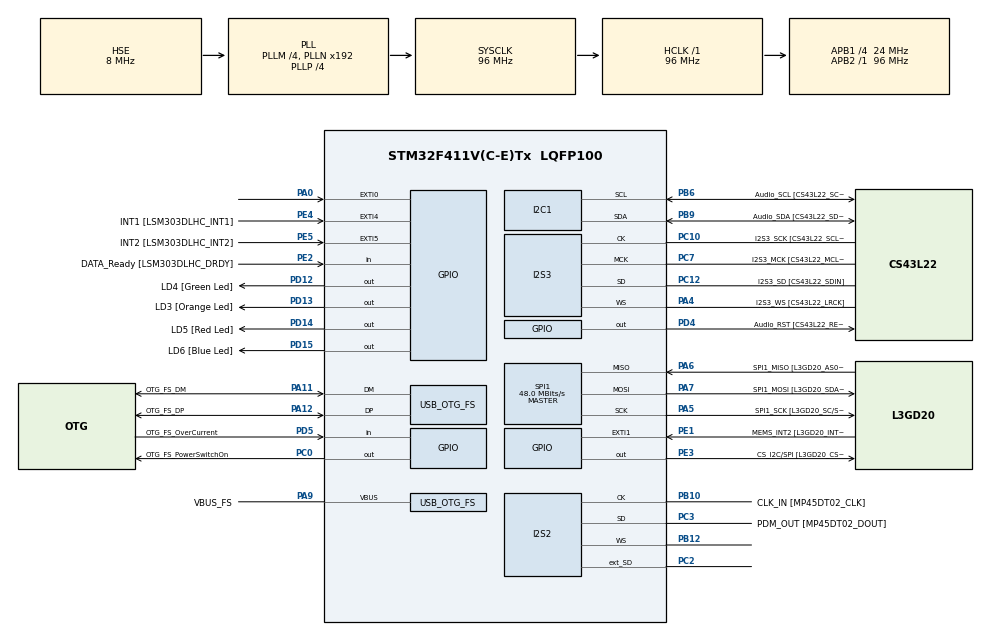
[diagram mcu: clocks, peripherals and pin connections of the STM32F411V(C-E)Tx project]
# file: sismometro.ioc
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I2C1.I2C_Mode=I2C_Standard
I2S2.AudioFreq=I2S_AUDIOFREQ_96K
I2S2.ErrorAudioFreq=0.15 %
I2S2.FullDuplexMode=I2S_FULLDUPLEXMODE_ENABLE
I2S2.Instance=SPI$Index
I2S2.RealAudioFreq=96.153 KHz
I2S2.VirtualMode=I2S_MODE_MASTER
I2S3.AudioFreq=I2S_AUDIOFREQ_96K
I2S3.ErrorAudioFreq=-6.99 %
I2S3.FullDuplexMode=I2S_FULLDUPLEXMODE_DISABLE
I2S3.Instance=SPI$Index
I2S3.RealAudioFreq=89.285 KHz
I2S3.VirtualMode=I2S_MODE_MASTER
Mcu.Family=STM32F4
Mcu.Name=STM32F411V(C-E)Tx
Mcu.Package=LQFP100
NVIC.OTG_FS_IRQn=true\:0\:0\:false\:false\:true\:true\:true\:true
NVIC.PriorityGroup=NVIC_PRIORITYGROUP_0
PA0-WKUP.GPIO_ModeDefaultEXTI=GPIO_MODE_EVT_RISING
PA0-WKUP.Signal=GPXTI0
PA10.GPIO_Label=OTG_FS_ID
PA10.Signal=USB_OTG_FS_ID
PA11.GPIO_Label=OTG_FS_DM
PA11.Mode=Host_Only
PA11.Signal=USB_OTG_FS_DM
PA12.GPIO_Label=OTG_FS_DP
PA12.Mode=Host_Only
PA12.Signal=USB_OTG_FS_DP
PA13.GPIO_Label=SWDIO
PA13.Mode=Serial_Wire
PA13.Signal=SYS_JTMS-SWDIO
PA14.GPIO_Label=SWCLK
PA14.Mode=Serial_Wire
PA14.Signal=SYS_JTCK-SWCLK
PA4.GPIO_Label=I2S3_WS [CS43L22_LRCK]
PA4.GPIO_Mode=GPIO_MODE_AF_PP
PA4.GPIO_PuPd=GPIO_NOPULL
PA4.GPIO_Speed=GPIO_SPEED_FREQ_LOW
PA4.Mode=Half_Duplex_Master
PA4.Signal=I2S3_WS
PA5.GPIO_Label=SPI1_SCK [L3GD20_SC/SPC]
PA5.Mode=Full_Duplex_Master
PA5.Signal=SPI1_SCK
PA6.GPIO_Label=SPI1_MISO [L3GD20_AS0/SDO]
PA6.Mode=Full_Duplex_Master
PA6.Signal=SPI1_MISO
PA7.GPIO_Label=SPI1_MOSI [L3GD20_SDA/SDI/SDO]
PA7.Mode=Full_Duplex_Master
PA7.Signal=SPI1_MOSI
PA9.GPIO_Label=VBUS_FS
PA9.Mode=Activate_VBUS
PA9.Signal=USB_OTG_FS_VBUS
PB10.GPIO_Label=CLK_IN [MP45DT02_CLK]
PB10.Mode=Full_Duplex_Master
PB10.Signal=I2S2_CK
PB12.Mode=Full_Duplex_Master
PB12.Signal=I2S2_WS
PB3.GPIO_Label=SWO
PB3.Signal=SYS_JTDO-SWO
PB6.GPIO_Label=Audio_SCL [CS43L22_SCL]
PB6.GPIO_Mode=GPIO_MODE_AF_OD
PB6.GPIO_Pu=GPIO_PULLUP
PB6.GPIO_PuPd=GPIO_NOPULL
PB6.GPIO_Speed=GPIO_SPEED_FREQ_LOW
PB6.Mode=I2C
PB6.Signal=I2C1_SCL
PB9.GPIO_Label=Audio_SDA [CS43L22_SDA]
PB9.GPIO_Mode=GPIO_MODE_AF_OD
PB9.GPIO_Pu=GPIO_PULLUP
PB9.GPIO_PuPd=GPIO_NOPULL
PB9.GPIO_Speed=GPIO_SPEED_FREQ_LOW
PB9.Mode=I2C
PB9.Signal=I2C1_SDA
PC0.GPIO_Label=OTG_FS_PowerSwitchOn
PC0.PinState=GPIO_PIN_SET
PC0.Signal=GPIO_Output
PC10.GPIO_Label=I2S3_SCK [CS43L22_SCLK]
PC10.GPIO_Mode=GPIO_MODE_AF_PP
PC10.GPIO_PuPd=GPIO_NOPULL
PC10.GPIO_Speed=GPIO_SPEED_FREQ_LOW
PC10.Mode=Half_Duplex_Master
PC10.Signal=I2S3_CK
PC12.GPIO_Label=I2S3_SD [CS43L22_SDIN]
PC12.GPIO_Mode=GPIO_MODE_AF_PP
PC12.GPIO_PuPd=GPIO_NOPULL
PC12.GPIO_Speed=GPIO_SPEED_FREQ_LOW
PC12.Mode=Half_Duplex_Master
PC12.Signal=I2S3_SD
PC14-OSC32_IN.GPIO_Label=PC14-OSC32_IN
PC14-OSC32_IN.Signal=RCC_OSC32_IN
PC15-OSC32_OUT.GPIO_Label=PC15-OSC32_OUT
PC15-OSC32_OUT.Signal=RCC_OSC32_OUT
PC2.Mode=Full_Duplex_Master
PC2.Signal=I2S2_ext_SD
PC3.GPIO_Label=PDM_OUT [MP45DT02_DOUT]
PC3.Mode=Full_Duplex_Master
PC3.Signal=I2S2_SD
PC7.GPIO_Label=I2S3_MCK [CS43L22_MCLK]
PC7.GPIO_Mode=GPIO_MODE_AF_PP
PC7.GPIO_PuPd=GPIO_NOPULL
PC7.GPIO_Speed=GPIO_SPEED_FREQ_LOW
PC7.Mode=Master_Clock_Activated
PC7.Signal=I2S3_MCK
PD12.GPIO_Label=LD4 [Green Led]
PD12.GPIO_PuPd=GPIO_NOPULL
PD12.GPIO_Speed=GPIO_SPEED_FREQ_LOW
PD12.Signal=GPIO_Output
PD13.GPIO_Label=LD3 [Orange Led]
PD13.GPIO_PuPd=GPIO_NOPULL
PD13.GPIO_Speed=GPIO_SPEED_FREQ_LOW
PD13.Signal=GPIO_Output
PD14.GPIO_Label=LD5 [Red Led]
PD14.GPIO_PuPd=GPIO_NOPULL
PD14.GPIO_Speed=GPIO_SPEED_FREQ_LOW
PD14.Signal=GPIO_Output
PD15.GPIO_Label=LD6 [Blue Led]
PD15.GPIO_PuPd=GPIO_NOPULL
PD15.GPIO_Speed=GPIO_SPEED_FREQ_LOW
PD15.Signal=GPIO_Output
PD4.GPIO_Label=Audio_RST [CS43L22_RESET]
PD4.Signal=GPIO_Output
PD5.GPIO_Label=OTG_FS_OverCurrent
PD5.Signal=GPIO_Input
PE1.GPIO_Label=MEMS_INT2 [L3GD20_INT2]
PE1.GPIO_ModeDefaultEXTI=GPIO_MODE_EVT_RISING
PE1.Signal=GPXTI1
PE2.GPIO_Label=DATA_Ready [LSM303DLHC_DRDY]
PE2.Signal=GPIO_Input
PE3.GPIO_Label=CS_I2C/SPI [L3GD20_CS_I2C/SPI]
PE3.Signal=GPIO_Output
PE4.GPIO_Label=INT1 [LSM303DLHC_INT1]
PE4.GPIO_ModeDefaultEXTI=GPIO_MODE_EVT_RISING
PE4.Signal=GPXTI4
PE5.GPIO_Label=INT2 [LSM303DLHC_INT2]
PE5.GPIO_ModeDefaultEXTI=GPIO_MODE_EVT_RISING
PE5.Signal=GPXTI5
PH0\ -\ OSC_IN.GPIO_Label=PH0-OSC_IN
PH0\ -\ OSC_IN.Mode=HSE-External-Oscillator
PH0\ -\ OSC_IN.Signal=RCC_OSC_IN
PH1\ -\ OSC_OUT.GPIO_Label=PH1-OSC_OUT
PH1\ -\ OSC_OUT.Mode=HSE-External-Oscillator
PH1\ -\ OSC_OUT.Signal=RCC_OSC_OUT
ProjectManager.HeapSize=0x200
ProjectManager.StackSize=0x400
ProjectManager.TargetToolchain=STM32CubeIDE
RCC.48MHZClocksFreq_Value=48000000
RCC.AHBFreq_Value=96000000
RCC.APB1CLKDivider=RCC_HCLK_DIV4
RCC.APB1Freq_Value=24000000
RCC.APB1TimFreq_Value=48000000
RCC.APB2Freq_Value=96000000
RCC.APB2TimFreq_Value=96000000
RCC.CortexFreq_Value=96000000
RCC.HCLKFreq_Value=96000000
RCC.HSE_VALUE=8000000
RCC.HSI_VALUE=16000000
RCC.LSE_VALUE=32768
RCC.PLLI2SM=5
RCC.PLLI2SN=200
RCC.PLLM=4
RCC.PLLP=RCC_PLLP_DIV4
RCC.PLLQ=8
RCC.SYSCLKFreq_VALUE=96000000
RCC.SYSCLKSource=RCC_SYSCLKSOURCE_PLLCLK
RCC.VCOOutputFreq_Value=384000000
SPI1.BaudRatePrescaler=SPI_BAUDRATEPRESCALER_2
SPI1.CalculateBaudRate=48.0 MBits/s
SPI1.Direction=SPI_DIRECTION_2LINES
SPI1.Mode=SPI_MODE_MASTER
SPI1.VirtualType=VM_MASTER
USB_HOST.BSP.number=1
USB_HOST.USBH_HandleTypeDef=hUsbHostFS
USB_HOST.VirtualModeFS=Msc
USB_HOST0.BSP.STBoard=false
USB_HOST0.BSP.api=Unknown
USB_HOST0.BSP.instance=PC0
USB_HOST0.BSP.ip=GPIO
USB_HOST0.BSP.mode=Output
USB_HOST0.BSP.name=Drive_VBUS_FS
USB_HOST0.BSP.solution=PC0
USB_OTG_FS.VirtualMode=Host_Only
USB_OTG_FS.phy_itface=HCD_PHY_EMBEDDED
VP_FATFS_VS_USB.Mode=USB
VP_USB_HOST_VS_USB_HOST_MSC_FS.Mode=MSC_FS
board=STM32F411E-DISCO

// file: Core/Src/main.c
/* USER CODE BEGIN Header */
/**
  ****
  * @file           : main.c
  * @brief          : Main program body
  ****
  * @attention
  *
  * Copyright (c) 2024 STMicroelectronics.
  * All rights reserved.
  *
  * This software is licensed under terms that can be found in the LICENSE file
  * in the root directory of this software component.
  * If no LICENSE file comes with this software, it is provided AS-IS.
  *
  ****
  */
/* USER CODE END Header */
#include "main.h"
#include "fatfs.h"
#include "usb_host.h"

/* USER CODE BEGIN Includes */
#include <lsm303dlhc.h>
#include "math.h"
/* USER CODE END Includes */

/* USER CODE BEGIN PD */

#define SEISMIC_THRESHOLD 2500 /*  umbral para la detección de eventos sísmicos 2500*/
#define SEISMIC_LED_PIN GPIO_PIN_15
#define SEISMIC_LED_PORT GPIOD
#define led_test GPIO_PIN_12
#define port_test GPIOD

/* USER CODE END PD */

I2C_HandleTypeDef hi2c1;

I2S_HandleTypeDef hi2s2;
I2S_HandleTypeDef hi2s3;

SPI_HandleTypeDef hspi1;

/* USER CODE BEGIN PV */
FATFS fs;

int seismicEventDetected = 0;
int16_t acc_data[3];
float accelerationgravedad = 16000;
float accelerationMagnitude;
float maxAccelerationMagnitude;
/* USER CODE END PV */

void SystemClock_Config(void);
void PeriphCommonClock_Config(void);
static void MX_GPIO_Init(void);
static void MX_I2C1_Init(void);
static void MX_I2S2_Init(void);
static void MX_I2S3_Init(void);
static void MX_SPI1_Init(void);
void MX_USB_HOST_Process(void);

/* USER CODE BEGIN PFP */
int funcionwhile(int);
/* USER CODE END PFP */

/* USER CODE BEGIN 0 */
int funcionwhile(int valormax)
{
    int duration = 10000;//tiempo a pasar para imprimir un valor en el usb

    while ((HAL_GetTick() - valormax) < duration)
    {
  	   LSM303DLHC_AccReadXYZ(acc_data);
    	//calculo el modulo de la aceleracion
       accelerationMagnitude = sqrt((float)(acc_data[0] * acc_data[0] + acc_data[1] * acc_data[1] + (acc_data[2] - accelerationgravedad) * (acc_data[2] - accelerationgravedad)));
  	   /* Actualizar la aceleración máxima si es mayor que la actual */
  	   if (accelerationMagnitude > valormax) {
  	         valormax = accelerationMagnitude;
  	   }
  	   /* Comprueba si la magnitud supera el umbral */
  	   if (accelerationMagnitude > SEISMIC_THRESHOLD) {
  	         HAL_GPIO_WritePin(SEISMIC_LED_PORT, SEISMIC_LED_PIN, GPIO_PIN_SET);
  	   } else {
  	         HAL_GPIO_WritePin(SEISMIC_LED_PORT, SEISMIC_LED_PIN, GPIO_PIN_RESET);
  	   }
     }
    return(valormax);
}
void COMPASSACCELERO_IO_Init(void)
{
}

void COMPASSACCELERO_IO_ITConfig(void)
{
}

void COMPASSACCELERO_IO_Write(uint16_t DeviceAddr, uint8_t RegisterAddr, uint8_t Value)
{
	uint8_t buffer[2] = {RegisterAddr, Value};
	HAL_StatusTypeDef res = HAL_I2C_Master_Transmit(&hi2c1, DeviceAddr, buffer, 2, 100);
}

uint8_t COMPASSACCELERO_IO_Read(uint16_t DeviceAddr, uint8_t RegisterAddr)
{
	HAL_StatusTypeDef res = HAL_I2C_Master_Transmit(&hi2c1, DeviceAddr, &RegisterAddr, 1, 100);
	uint8_t value;
	res = HAL_I2C_Master_Receive(&hi2c1, DeviceAddr | 0x01, &value, 1, 100);
	return value;
}

void onHostUserClassActiveCallback(void)
{
  f_mount(&fs, "", 0);
  HAL_GPIO_WritePin(port_test, led_test, GPIO_PIN_SET);
}
void onHostUserDisconnectionCallback(void)
{
  f_mount(NULL, "", 0);
  HAL_GPIO_WritePin(port_test, led_test, GPIO_PIN_RESET);
}

void saveSismicData()
{
    FIL archivo;
    FRESULT resultado;

    // Abre o crea un archivo en modo escritura y lo posiciona al final
    resultado = f_open(&archivo, "archivo.txt", FA_WRITE | FA_OPEN_ALWAYS);
    if (resultado != FR_OK) {
        printf("Error al abrir el archivo: %d\n", resultado);
        return;
    }

    // Posicionar al final del archivo
    resultado = f_lseek(&archivo, f_size(&archivo));
    if (resultado != FR_OK) {
        printf("Error al posicionar al final del archivo: %d\n", resultado);
        f_close(&archivo);
        return;
    }

    // Escribir texto inicial
    const char* texto = "\nSismo de valor: ";
    UINT bytesEscritos;
    resultado = f_write(&archivo, texto, strlen(texto), &bytesEscritos);
    if (resultado != FR_OK) {
        printf("Error al escribir texto: %d\n", resultado);
        f_close(&archivo);
        return;
    }

    // Convertir y escribir el valor
    char buffer[20];
    snprintf(buffer, sizeof(buffer), "%.1f", maxAccelerationMagnitude);
    resultado = f_write(&archivo, buffer, strlen(buffer), &bytesEscritos);
    if (resultado != FR_OK) {
        printf("Error al escribir valor: %d\n", resultado);
        f_close(&archivo);
        return;
    }

    // Cerrar el archivo
    if (f_close(&archivo) != FR_OK) {
        printf("Error al cerrar el archivo.\n");
    }
}
/* USER CODE END 0 */

int main(void)
{

  /* MCU Configuration--------------------------------------------------------*/

  /* Reset of all peripherals, Initializes the Flash interface and the Systick. */
  HAL_Init();

  /* Configure the system clock */
  SystemClock_Config();

/* Configure the peripherals common clocks */
  PeriphCommonClock_Config();

  /* Initialize all configured peripherals */
  MX_GPIO_Init();
  MX_I2C1_Init();
  MX_I2S2_Init();
  MX_I2S3_Init();
  MX_SPI1_Init();
  MX_USB_HOST_Init();
  MX_FATFS_Init();
  /* USER CODE BEGIN 2 */
  LSM303DLHC_AccInit(
    (LSM303DLHC_ODR_100_HZ | LSM303DLHC_AXES_ENABLE) +              // CTRL_REG1_A
    256 * (LSM303DLHC_FULLSCALE_2G | LSM303DLHC_BlockUpdate_Single) // CTRL_REG4_A
  );
  /* USER CODE END 2 */

  /* Infinite loop */
  /* USER CODE BEGIN WHILE */
  seismicEventDetected = 0;
  maxAccelerationMagnitude = 0;
  while (1)
  {
    /* USER CODE END WHILE */
    MX_USB_HOST_Process();

    /* USER CODE BEGIN 3 */
    LSM303DLHC_AccReadXYZ(acc_data);
    accelerationMagnitude = sqrt((float)(acc_data[0] * acc_data[0] + acc_data[1] * acc_data[1] + (acc_data[2] - accelerationgravedad) * (acc_data[2] - accelerationgravedad)));

    HAL_GPIO_WritePin(SEISMIC_LED_PORT, SEISMIC_LED_PIN, accelerationMagnitude > SEISMIC_THRESHOLD ? GPIO_PIN_SET : GPIO_PIN_RESET);

    int startTime;
    /* Comprueba si la magnitud supera el umbral */
    if (seismicEventDetected)
    {
    	//me quedo con el valor mas grande
    	if (maxAccelerationMagnitude < accelerationMagnitude)
        	maxAccelerationMagnitude = accelerationMagnitude;
    	if (HAL_GetTick() - startTime > 10000)
    	{
    		seismicEventDetected = 0;
    		//escribo en un fichero los valores de aceleracion maxima detectada
	        saveSismicData(maxAccelerationMagnitude);
    	}
    }
    else if (accelerationMagnitude > SEISMIC_THRESHOLD) {
	      startTime = HAL_GetTick();
	      seismicEventDetected = 1;
      	  maxAccelerationMagnitude = accelerationMagnitude;
       }
  }
  /* USER CODE END 3 */
}

void SystemClock_Config(void)
{
  RCC_OscInitTypeDef RCC_OscInitStruct = {0};
  RCC_ClkInitTypeDef RCC_ClkInitStruct = {0};

  /** Configure the main internal regulator output voltage
  */
  __HAL_RCC_PWR_CLK_ENABLE();
  __HAL_PWR_VOLTAGESCALING_CONFIG(PWR_REGULATOR_VOLTAGE_SCALE1);

  /** Initializes the RCC Oscillators according to the specified parameters
  * in the RCC_OscInitTypeDef structure.
  */
  RCC_OscInitStruct.OscillatorType = RCC_OSCILLATORTYPE_HSE;
  RCC_OscInitStruct.HSEState = RCC_HSE_ON;
  RCC_OscInitStruct.PLL.PLLState = RCC_PLL_ON;
  RCC_OscInitStruct.PLL.PLLSource = RCC_PLLSOURCE_HSE;
  RCC_OscInitStruct.PLL.PLLM = 4;
  RCC_OscInitStruct.PLL.PLLN = 192;
  RCC_OscInitStruct.PLL.PLLP = RCC_PLLP_DIV4;
  RCC_OscInitStruct.PLL.PLLQ = 8;
  if (HAL_RCC_OscConfig(&RCC_OscInitStruct) != HAL_OK)
  {
    Error_Handler();
  }

  /** Initializes the CPU, AHB and APB buses clocks
  */
  RCC_ClkInitStruct.ClockType = RCC_CLOCKTYPE_HCLK|RCC_CLOCKTYPE_SYSCLK
                              |RCC_CLOCKTYPE_PCLK1|RCC_CLOCKTYPE_PCLK2;
  RCC_ClkInitStruct.SYSCLKSource = RCC_SYSCLKSOURCE_PLLCLK;
  RCC_ClkInitStruct.AHBCLKDivider = RCC_SYSCLK_DIV1;
  RCC_ClkInitStruct.APB1CLKDivider = RCC_HCLK_DIV4;
  RCC_ClkInitStruct.APB2CLKDivider = RCC_HCLK_DIV1;

  if (HAL_RCC_ClockConfig(&RCC_ClkInitStruct, FLASH_LATENCY_3) != HAL_OK)
  {
    Error_Handler();
  }
}

void PeriphCommonClock_Config(void)
{
  RCC_PeriphCLKInitTypeDef PeriphClkInitStruct = {0};

  /** Initializes the peripherals clock
  */
  PeriphClkInitStruct.PeriphClockSelection = RCC_PERIPHCLK_I2S;
  PeriphClkInitStruct.PLLI2S.PLLI2SN = 200;
  PeriphClkInitStruct.PLLI2S.PLLI2SM = 5;
  PeriphClkInitStruct.PLLI2S.PLLI2SR = 2;
  if (HAL_RCCEx_PeriphCLKConfig(&PeriphClkInitStruct) != HAL_OK)
  {
    Error_Handler();
  }
}

static void MX_I2C1_Init(void)
{

  hi2c1.Instance = I2C1;
  hi2c1.Init.ClockSpeed = 100000;
  hi2c1.Init.DutyCycle = I2C_DUTYCYCLE_2;
  hi2c1.Init.OwnAddress1 = 0;
  hi2c1.Init.AddressingMode = I2C_ADDRESSINGMODE_7BIT;
  hi2c1.Init.DualAddressMode = I2C_DUALADDRESS_DISABLE;
  hi2c1.Init.OwnAddress2 = 0;
  hi2c1.Init.GeneralCallMode = I2C_GENERALCALL_DISABLE;
  hi2c1.Init.NoStretchMode = I2C_NOSTRETCH_DISABLE;
  if (HAL_I2C_Init(&hi2c1) != HAL_OK)
  {
    Error_Handler();
  }

}

static void MX_I2S2_Init(void)
{

  hi2s2.Instance = SPI2;
  hi2s2.Init.Mode = I2S_MODE_MASTER_TX;
  hi2s2.Init.Standard = I2S_STANDARD_PHILIPS;
  hi2s2.Init.DataFormat = I2S_DATAFORMAT_16B;
  hi2s2.Init.MCLKOutput = I2S_MCLKOUTPUT_DISABLE;
  hi2s2.Init.AudioFreq = I2S_AUDIOFREQ_96K;
  hi2s2.Init.CPOL = I2S_CPOL_LOW;
  hi2s2.Init.ClockSource = I2S_CLOCK_PLL;
  hi2s2.Init.FullDuplexMode = I2S_FULLDUPLEXMODE_ENABLE;
  if (HAL_I2S_Init(&hi2s2) != HAL_OK)
  {
    Error_Handler();
  }

}

static void MX_I2S3_Init(void)
{

  hi2s3.Instance = SPI3;
  hi2s3.Init.Mode = I2S_MODE_MASTER_TX;
  hi2s3.Init.Standard = I2S_STANDARD_PHILIPS;
  hi2s3.Init.DataFormat = I2S_DATAFORMAT_16B;
  hi2s3.Init.MCLKOutput = I2S_MCLKOUTPUT_ENABLE;
  hi2s3.Init.AudioFreq = I2S_AUDIOFREQ_96K;
  hi2s3.Init.CPOL = I2S_CPOL_LOW;
  hi2s3.Init.ClockSource = I2S_CLOCK_PLL;
  hi2s3.Init.FullDuplexMode = I2S_FULLDUPLEXMODE_DISABLE;
  if (HAL_I2S_Init(&hi2s3) != HAL_OK)
  {
    Error_Handler();
  }

}

static void MX_SPI1_Init(void)
{

  /* SPI1 parameter configuration*/
  hspi1.Instance = SPI1;
  hspi1.Init.Mode = SPI_MODE_MASTER;
  hspi1.Init.Direction = SPI_DIRECTION_2LINES;
  hspi1.Init.DataSize = SPI_DATASIZE_8BIT;
  hspi1.Init.CLKPolarity = SPI_POLARITY_LOW;
  hspi1.Init.CLKPhase = SPI_PHASE_1EDGE;
  hspi1.Init.NSS = SPI_NSS_SOFT;
  hspi1.Init.BaudRatePrescaler = SPI_BAUDRATEPRESCALER_2;
  hspi1.Init.FirstBit = SPI_FIRSTBIT_MSB;
  hspi1.Init.TIMode = SPI_TIMODE_DISABLE;
  hspi1.Init.CRCCalculation = SPI_CRCCALCULATION_DISABLE;
  hspi1.Init.CRCPolynomial = 10;
  if (HAL_SPI_Init(&hspi1) != HAL_OK)
  {
    Error_Handler();
  }

}

static void MX_GPIO_Init(void)
{
  GPIO_InitTypeDef GPIO_InitStruct = {0};

  /* GPIO Ports Clock Enable */
  __HAL_RCC_GPIOE_CLK_ENABLE();
  __HAL_RCC_GPIOC_CLK_ENABLE();
  __HAL_RCC_GPIOH_CLK_ENABLE();
  __HAL_RCC_GPIOA_CLK_ENABLE();
  __HAL_RCC_GPIOB_CLK_ENABLE();
  __HAL_RCC_GPIOD_CLK_ENABLE();

  /*Configure GPIO pin Output Level */
  HAL_GPIO_WritePin(CS_I2C_SPI_GPIO_Port, CS_I2C_SPI_Pin, GPIO_PIN_RESET);

  /*Configure GPIO pin Output Level */
  HAL_GPIO_WritePin(OTG_FS_PowerSwitchOn_GPIO_Port, OTG_FS_PowerSwitchOn_Pin, GPIO_PIN_SET);

  /*Configure GPIO pin Output Level */
  HAL_GPIO_WritePin(GPIOD, LD4_Pin|LD3_Pin|LD5_Pin|LD6_Pin
                          |Audio_RST_Pin, GPIO_PIN_RESET);

  /*Configure GPIO pin : DATA_Ready_Pin */
  GPIO_InitStruct.Pin = DATA_Ready_Pin;
  GPIO_InitStruct.Mode = GPIO_MODE_INPUT;
  GPIO_InitStruct.Pull = GPIO_NOPULL;
  HAL_GPIO_Init(DATA_Ready_GPIO_Port, &GPIO_InitStruct);

  /*Configure GPIO pin : CS_I2C_SPI_Pin */
  GPIO_InitStruct.Pin = CS_I2C_SPI_Pin;
  GPIO_InitStruct.Mode = GPIO_MODE_OUTPUT_PP;
  GPIO_InitStruct.Pull = GPIO_NOPULL;
  GPIO_InitStruct.Speed = GPIO_SPEED_FREQ_LOW;
  HAL_GPIO_Init(CS_I2C_SPI_GPIO_Port, &GPIO_InitStruct);

  /*Configure GPIO pins : INT1_Pin INT2_Pin MEMS_INT2_Pin */
  GPIO_InitStruct.Pin = INT1_Pin|INT2_Pin|MEMS_INT2_Pin;
  GPIO_InitStruct.Mode = GPIO_MODE_EVT_RISING;
  GPIO_InitStruct.Pull = GPIO_NOPULL;
  HAL_GPIO_Init(GPIOE, &GPIO_InitStruct);

  /*Configure GPIO pin : OTG_FS_PowerSwitchOn_Pin */
  GPIO_InitStruct.Pin = OTG_FS_PowerSwitchOn_Pin;
  GPIO_InitStruct.Mode = GPIO_MODE_OUTPUT_PP;
  GPIO_InitStruct.Pull = GPIO_NOPULL;
  GPIO_InitStruct.Speed = GPIO_SPEED_FREQ_LOW;
  HAL_GPIO_Init(OTG_FS_PowerSwitchOn_GPIO_Port, &GPIO_InitStruct);

  /*Configure GPIO pin : PA0 */
  GPIO_InitStruct.Pin = GPIO_PIN_0;
  GPIO_InitStruct.Mode = GPIO_MODE_EVT_RISING;
  GPIO_InitStruct.Pull = GPIO_NOPULL;
  HAL_GPIO_Init(GPIOA, &GPIO_InitStruct);

  /*Configure GPIO pins : LD4_Pin LD3_Pin LD5_Pin LD6_Pin
                           Audio_RST_Pin */
  GPIO_InitStruct.Pin = LD4_Pin|LD3_Pin|LD5_Pin|LD6_Pin
                          |Audio_RST_Pin;
  GPIO_InitStruct.Mode = GPIO_MODE_OUTPUT_PP;
  GPIO_InitStruct.Pull = GPIO_NOPULL;
  GPIO_InitStruct.Speed = GPIO_SPEED_FREQ_LOW;
  HAL_GPIO_Init(GPIOD, &GPIO_InitStruct);

  /*Configure GPIO pin : OTG_FS_OverCurrent_Pin */
  GPIO_InitStruct.Pin = OTG_FS_OverCurrent_Pin;
  GPIO_InitStruct.Mode = GPIO_MODE_INPUT;
  GPIO_InitStruct.Pull = GPIO_NOPULL;
  HAL_GPIO_Init(OTG_FS_OverCurrent_GPIO_Port, &GPIO_InitStruct);

}

void Error_Handler(void)
{
  __disable_irq();
  while (1)
  {
  }
}
